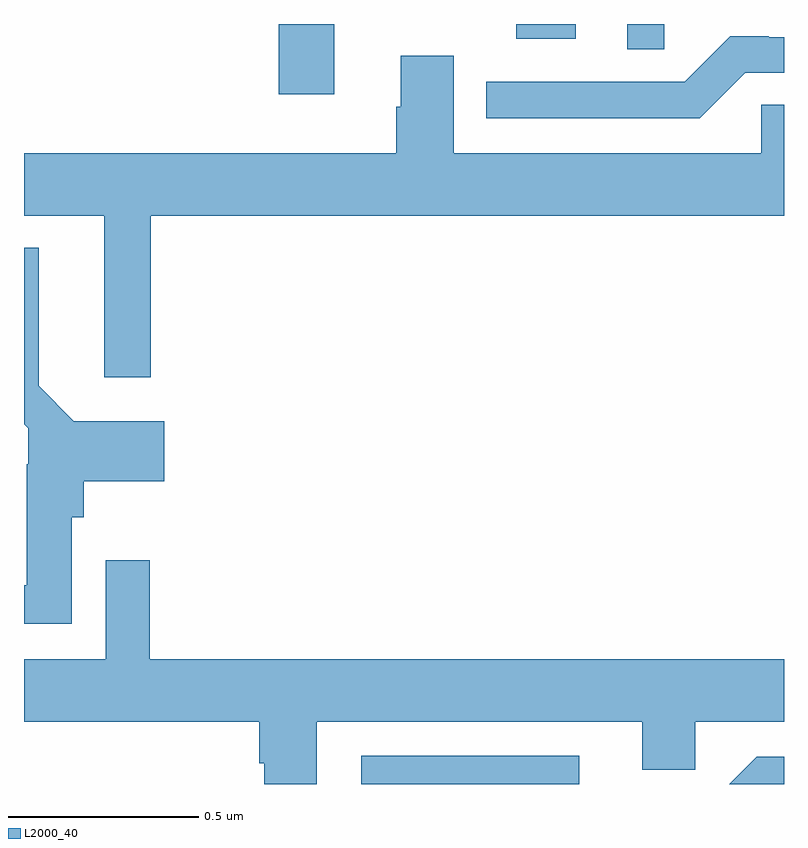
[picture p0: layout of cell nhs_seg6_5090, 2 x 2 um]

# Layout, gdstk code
import gdstk
lib = gdstk.Library(unit=1e-6, precision=1e-09)
def R(c, l, rs):  # rectangles x0, y0, x1, y1
    for r in rs: c.add(gdstk.rectangle(r[:2], r[2:], *l))
def P(c, l, *ps):  # polygons
    for p in ps: c.add(gdstk.Polygon(p, *l))
L2000_40 = (2000, 40)

nhs_seg6_5090 = lib.new_cell('nhs_seg6_5090')
R(nhs_seg6_5090, L2000_40, [(178.887,952.5,179.461,952.575), (178.67,954.315,178.816,954.5), (179.587,954.433,179.685,954.5), (179.296,954.461,179.452,954.5)])
P(nhs_seg6_5090, L2000_40, [(179.898,954.372),(180,954.372),(180,954.465),(179.96,954.465),(179.96,954.468),(179.859,954.468),(179.739,954.348),(179.216,954.348),(179.216,954.252),(179.778,954.252)],
  [(178.334,953.996),(180,953.996),(180,954.287),(179.94,954.287),(179.94,954.16),(179.131,954.16),(179.131,954.416),(178.991,954.416),(178.991,954.282),(178.979,954.282),(178.979,954.16),(178,954.16),(178,953.996),(178.211,953.996),(178.211,953.571),(178.334,953.571)],
  [(178.126,953.202),(178.157,953.202),(178.157,953.297),(178.369,953.297),(178.369,953.455),(178.131,953.455),(178.039,953.548),(178.039,953.911),(178,953.911),(178,953.447),(178.011,953.436),(178.011,953.342),(178.007,953.342),(178.007,953.023),(178,953.023),(178,952.922),(178.126,952.922)],
  [(178.771,952.664),(179.627,952.664),(179.627,952.537),(179.766,952.537),(179.766,952.664),(180,952.664),(180,952.828),(178.331,952.828),(178.331,953.089),(178.215,953.089),(178.215,952.828),(178,952.828),(178,952.664),(178.619,952.664),(178.619,952.555),(178.632,952.555),(178.632,952.5),(178.771,952.5)],
  [(180,952.572),(179.928,952.572),(179.856,952.5),(180,952.5)])

lib.write_gds('nhs_seg6_5090.gds')
